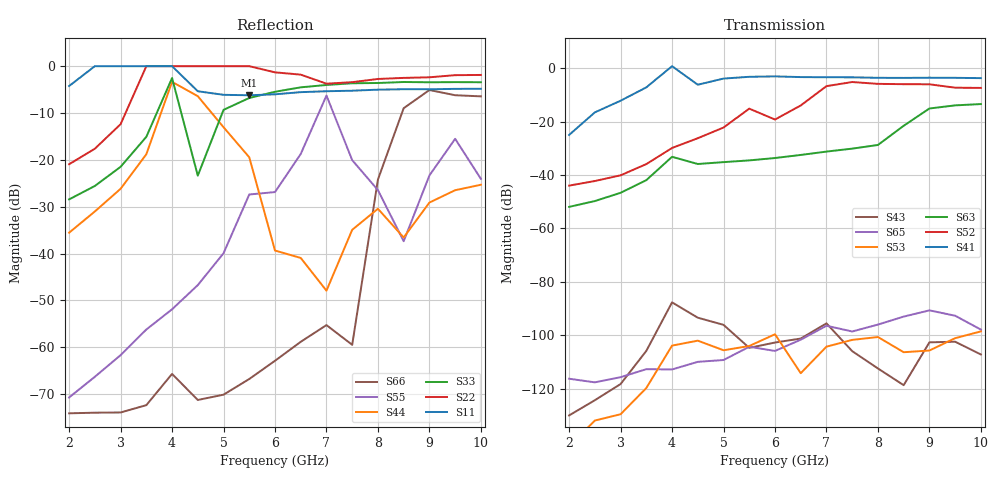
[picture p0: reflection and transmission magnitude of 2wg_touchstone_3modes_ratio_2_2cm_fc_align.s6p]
! S-parameter export from POSTFEKO
! Filename: circular_2wg_3modes_ratio_2
! Creation date: 2020-01-20 14:03:19
# Hz S MA R  5.0000000E+01
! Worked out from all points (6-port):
!   17 points, 2 GHz to 10 GHz, reference 50 ohm
!   strongest paths, dB at 2 GHz, 4 GHz, 6 GHz, 8 GHz, 10 GHz:
!     S41: -25.0, 0.8, -3.0, -3.6, -3.7
!     S52: -44.0, -29.8, -19.2, -5.8, -7.4
!     S63: -51.9, -33.2, -33.6, -28.7, -13.4
!     S53: -141.5, -103.9, -99.6, -100.6, -98.5
!     S65: -116.3, -112.8, -105.8, -96.0, -97.9
!     S43: -130.0, -87.7, -102.7, -112.4, -107.2
!   lowest |S11| = -6.2 dB at 5.5 GHz (marker M1), VSWR 2.92, Z = 42.2 - j50.9 ohm
!   |S11| at or under -10 dB: nowhere
